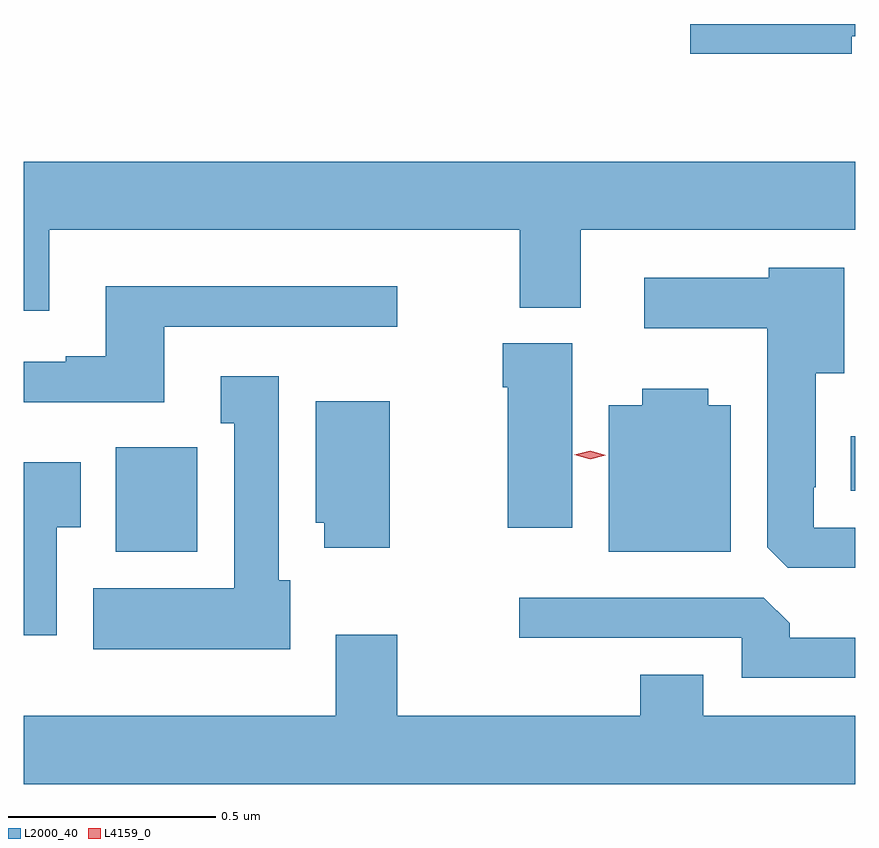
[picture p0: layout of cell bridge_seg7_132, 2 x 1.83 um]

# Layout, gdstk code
import gdstk
lib = gdstk.Library(unit=1e-6, precision=1e-09)
def R(c, l, rs):  # rectangles x0, y0, x1, y1
    for r in rs: c.add(gdstk.rectangle(r[:2], r[2:], *l))
def P(c, l, *ps):  # polygons
    for p in ps: c.add(gdstk.Polygon(p, *l))
L2000_40 = (2000, 40)
L4159_0 = (4159, 0)

bridge_seg7_132 = lib.new_cell('bridge_seg7_132')
R(bridge_seg7_132, L2000_40, [(866.585,1001.174,866.781,1001.425), (868.352,1001.321,868.363,1001.452)])
P(bridge_seg7_132, L2000_40, [(868.354,1002.414),(868.363,1002.414),(868.363,1002.443),(867.966,1002.443),(867.966,1002.371),(868.354,1002.371)],
  [(866.425,1001.948),(867.556,1001.948),(867.556,1001.761),(867.703,1001.761),(867.703,1001.948),(868.363,1001.948),(868.363,1002.112),(866.363,1002.112),(866.363,1001.754),(866.425,1001.754)],
  [(868.363,1001.232),(868.263,1001.232),(868.263,1001.329),(868.267,1001.329),(868.267,1001.603),(868.336,1001.603),(868.336,1001.857),(868.155,1001.857),(868.155,1001.833),(867.855,1001.833),(867.855,1001.711),(868.151,1001.711),(868.151,1001.185),(868.2,1001.136),(868.363,1001.136)],
  [(866.701,1001.715),(867.262,1001.715),(867.262,1001.812),(866.561,1001.812),(866.561,1001.644),(866.465,1001.644),(866.465,1001.631),(866.363,1001.631),(866.363,1001.534),(866.701,1001.534)],
  [(867.682,1001.676),(867.515,1001.676),(867.515,1001.57),(867.527,1001.57),(867.527,1001.232),(867.682,1001.232)],
  [(867.004,1001.106),(866.977,1001.106),(866.977,1001.596),(866.837,1001.596),(866.837,1001.483),(866.87,1001.483),(866.87,1001.086),(866.531,1001.086),(866.531,1000.94),(867.004,1000.94)],
  [(868.063,1001.527),(868.009,1001.527),(868.009,1001.566),(867.851,1001.566),(867.851,1001.527),(867.77,1001.527),(867.77,1001.174),(868.063,1001.174)],
  [(867.244,1001.536),(867.065,1001.536),(867.065,1001.244),(867.086,1001.244),(867.086,1001.184),(867.244,1001.184)],
  [(866.443,1001.233),(866.5,1001.233),(866.5,1001.389),(866.363,1001.389),(866.363,1000.974),(866.443,1000.974)],
  [(868.363,1000.968),(868.205,1000.968),(868.205,1001.002),(868.143,1001.064),(867.555,1001.064),(867.555,1000.968),(868.089,1000.968),(868.089,1000.872),(868.363,1000.872)],
  [(868.363,1000.78),(867.997,1000.78),(867.997,1000.879),(867.845,1000.879),(867.845,1000.78),(867.261,1000.78),(867.261,1000.975),(867.113,1000.975),(867.113,1000.78),(866.363,1000.78),(866.363,1000.616),(868.363,1000.616)])
P(bridge_seg7_132, L4159_0, [(867.725,1001.397),(867.687,1001.407),(867.686,1001.407),(867.687,1001.407),(867.725,1001.417),(867.763,1001.406),(867.763,1001.406),(867.763,1001.406)])

lib.write_gds('bridge_seg7_132.gds')
